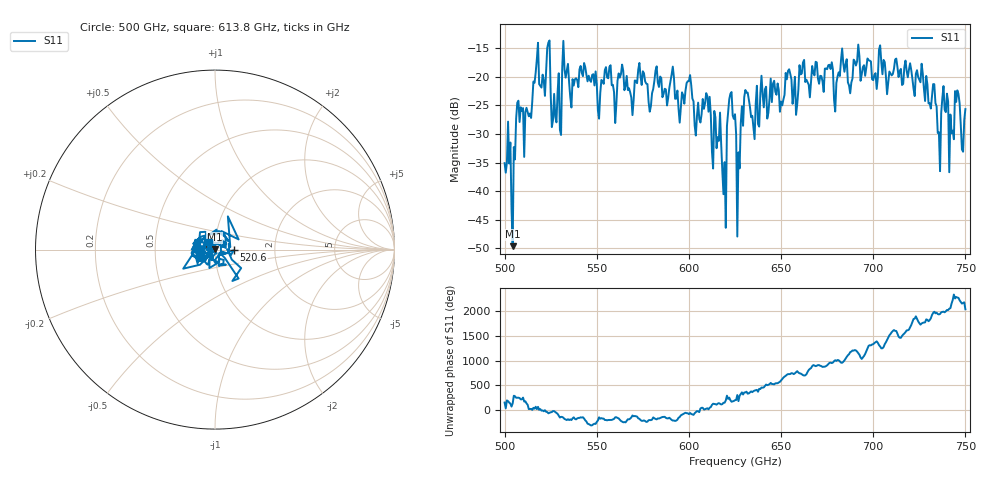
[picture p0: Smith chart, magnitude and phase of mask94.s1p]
!Created with skrf (http://scikit-rf.org).
# GHz S MA R 50.0
!freq magS11 angS11
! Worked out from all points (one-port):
!   401 points, 500 GHz to 750 GHz, reference 50 ohm
!   lowest |S11| = -49.6 dB at 504.4 GHz (marker M1), VSWR 1.01, Z = 49.8 + j0.225 ohm
!   |S11| at or under -10 dB: start of sweep to end of sweep
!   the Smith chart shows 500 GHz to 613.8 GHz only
!   S11 on the Smith chart (normalised r, x): 500 GHz: 0.97, +0.01; 520.6 GHz: 1.23, -0.01; 613.8 GHz: 0.94, +0.07
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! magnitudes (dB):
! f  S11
! 500 GHz  -35.1
! 504.4 GHz  -49.6
! 507.5 GHz  -24.2
! 516.9 GHz  -19.2
! 520.6 GHz  -19.6
! 523.8 GHz  -14.0
! 526.9 GHz  -23.0
! 531.2 GHz  -18.5
! 562.5 GHz  -20.1
! 593.8 GHz  -22.4
! 600 GHz  -20.7
! 613.8 GHz  -26.0
! 618.8 GHz  -40.5
! 622.5 GHz  -22.9
! 625 GHz  -26.5
! 626.9 GHz  -33.2
! 631.2 GHz  -22.8
! 634.4 GHz  -26.8
! 656.2 GHz  -24.7
! 687.5 GHz  -22.9
! 691.2 GHz  -17.3
! 718.8 GHz  -20.1
! 733.1 GHz  -21.3
! 735.6 GHz  -29.7
! 738.8 GHz  -25.7
! 742.5 GHz  -29.9
! 745.6 GHz  -22.4
! 750 GHz  -25.6
